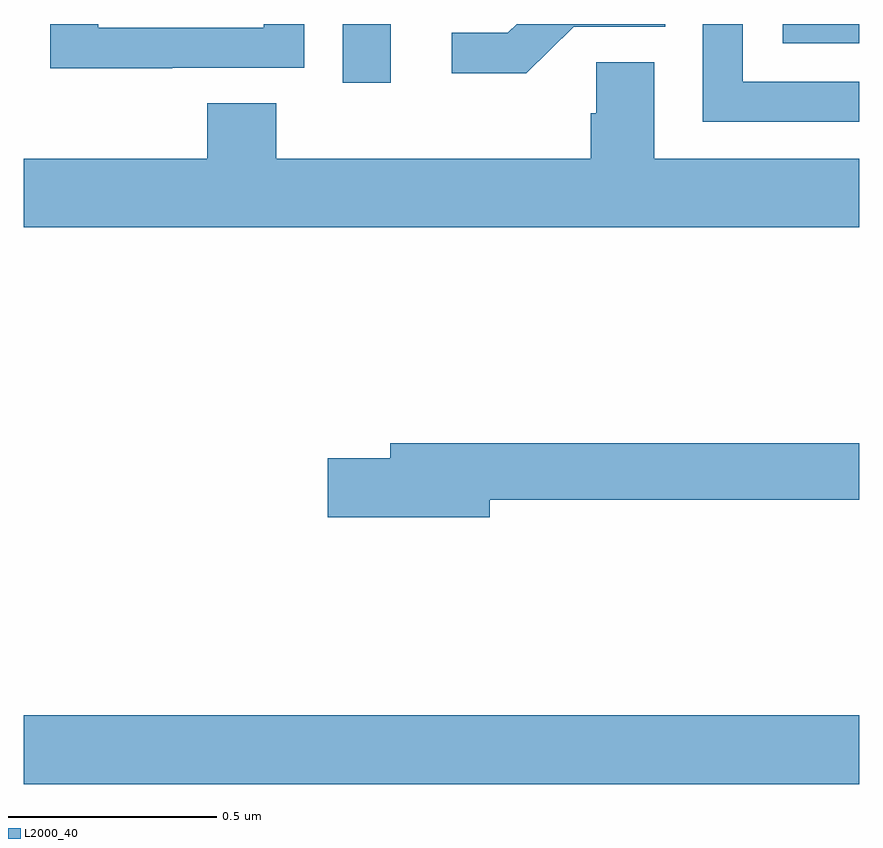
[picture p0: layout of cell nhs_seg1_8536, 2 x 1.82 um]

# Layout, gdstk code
import gdstk
lib = gdstk.Library(unit=1e-6, precision=1e-09)
def R(c, l, rs):  # rectangles x0, y0, x1, y1
    for r in rs: c.add(gdstk.rectangle(r[:2], r[2:], *l))
def P(c, l, *ps):  # polygons
    for p in ps: c.add(gdstk.Polygon(p, *l))
L2000_40 = (2000, 40)

nhs_seg1_8536 = lib.new_cell('nhs_seg1_8536')
R(nhs_seg1_8536, L2000_40, [(217,570.38,219,570.544), (217.764,572.058,217.879,572.199), (218.817,572.153,219,572.199)])
P(nhs_seg1_8536, L2000_40, [(217.355,572.094),(217.671,572.094),(217.671,572.199),(217.575,572.199),(217.575,572.19),(217.179,572.19),(217.179,572.199),(217.063,572.199),(217.063,572.093),(217.355,572.093)],
  [(218.316,572.193),(218.535,572.193),(218.535,572.199),(218.18,572.199),(218.159,572.178),(218.025,572.178),(218.025,572.081),(218.203,572.081)],
  [(219,572.061),(218.721,572.061),(218.721,572.199),(218.625,572.199),(218.625,571.965),(219,571.965)],
  [(219,571.876),(218.509,571.876),(218.509,572.108),(218.37,572.108),(218.37,571.985),(218.357,571.985),(218.357,571.876),(217.604,571.876),(217.604,572.009),(217.439,572.009),(217.439,571.876),(217,571.876),(217,571.712),(219,571.712)],
  [(218.116,571.06),(219,571.06),(219,571.196),(217.877,571.196),(217.877,571.16),(217.728,571.16),(217.728,571.018),(218.116,571.018)])

lib.write_gds('nhs_seg1_8536.gds')
